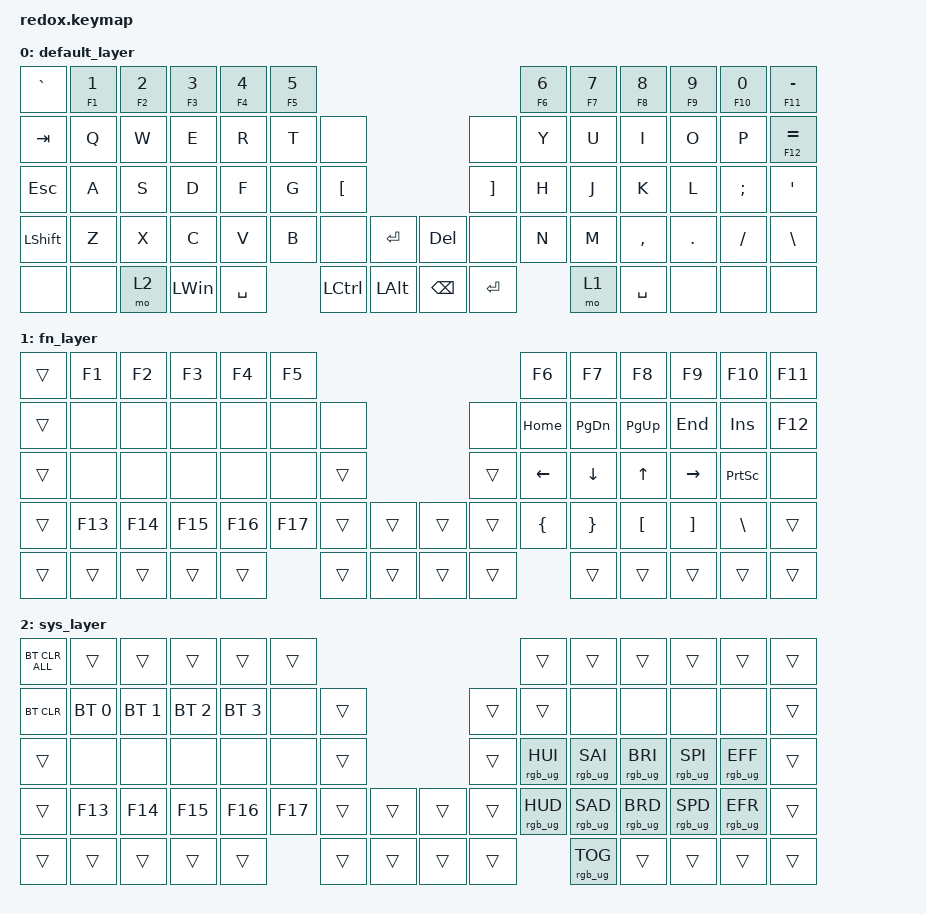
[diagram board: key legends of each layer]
/*
 * Copyright (c) 2021 The ZMK Contributors
 *
 * SPDX-License-Identifier: MIT
 */

#include <behaviors.dtsi>
#include <dt-bindings/zmk/bt.h>
#include <dt-bindings/zmk/keys.h>
#include <dt-bindings/zmk/rgb.h>

&mt { flavor = "tap-preferred"; };

/ {
    keymap {
        compatible = "zmk,keymap";

        default_layer {
            bindings = <
&kp GRAVE   &mt F1 NUMBER_1  &mt F2 NUMBER_2  &mt F3 NUMBER_3  &mt F4 NUMBER_4  &mt F5 NUMBER_5                                                        &mt F6 NUMBER_6  &mt F7 NUMBER_7  &mt F8 NUMBER_8  &mt F9 NUMBER_9  &mt F10 NUMBER_0  &mt F11 MINUS
&kp TAB     &kp Q            &kp W            &kp E            &kp R            &kp T            &none                                     &none       &kp Y            &kp U            &kp I            &kp O            &kp P             &mt F12 EQUAL
&kp ESCAPE  &kp A            &kp S            &kp D            &kp F            &kp G            &kp LBKT                                  &kp RBKT    &kp H            &kp J            &kp K            &kp L            &kp SEMI          &kp SQT
&kp LSHFT   &kp Z            &kp X            &kp C            &kp V            &kp B            &none      &kp RET         &kp DEL        &none       &kp N            &kp M            &kp COMMA        &kp DOT          &kp FSLH          &kp BACKSLASH
&none       &none            &mo 2            &kp LEFT_WIN     &kp SPACE                         &kp LCTRL  &kp LEFT_ALT    &kp BACKSPACE  &kp RETURN                   &mo 1            &kp SPACE        &none            &none             &none
            >;
        };

        fn_layer {
            bindings = <
&trans          &kp F1        &kp F2        &kp F3        &kp F4        &kp F5                                          &kp F6          &kp F7           &kp F8            &kp F9             &kp F10          &kp F11
&trans          &none         &none         &none         &none         &none         &none                     &none   &kp HOME        &kp PAGE_DOWN    &kp PAGE_UP       &kp END            &kp INSERT       &kp F12
&trans          &none         &none         &none         &none         &none         &trans                    &trans  &kp LEFT        &kp DOWN         &kp UP            &kp RIGHT          &kp PRINTSCREEN  &none
&trans          &kp F13       &kp F14       &kp F15       &kp F16       &kp F17       &trans  &trans    &trans  &trans  &kp LEFT_BRACE  &kp RIGHT_BRACE  &kp LEFT_BRACKET  &kp RIGHT_BRACKET  &kp BACKSLASH    &trans
&trans          &trans        &trans        &trans        &trans                      &trans  &trans    &trans  &trans                  &trans           &trans            &trans             &trans           &trans
            >;
        };

        sys_layer {
            bindings = <
&bt BT_CLR_ALL  &trans        &trans        &trans        &trans        &trans                                     &trans           &trans           &trans           &trans           &trans           &trans
&bt BT_CLR      &bt BT_SEL 0  &bt BT_SEL 1  &bt BT_SEL 2  &bt BT_SEL 3  &none    &trans                    &trans  &trans           &none            &none            &none            &none            &trans
&trans          &none         &none         &none         &none         &none    &trans                    &trans  &rgb_ug RGB_HUI  &rgb_ug RGB_SAI  &rgb_ug RGB_BRI  &rgb_ug RGB_SPI  &rgb_ug RGB_EFF  &trans
&trans          &kp F13       &kp F14       &kp F15       &kp F16       &kp F17  &trans  &trans    &trans  &trans  &rgb_ug RGB_HUD  &rgb_ug RGB_SAD  &rgb_ug RGB_BRD  &rgb_ug RGB_SPD  &rgb_ug RGB_EFR  &trans
&trans          &trans        &trans        &trans        &trans                 &trans  &trans    &trans  &trans                   &rgb_ug RGB_TOG  &trans           &trans           &trans           &trans
            >;
        };
    };
};

